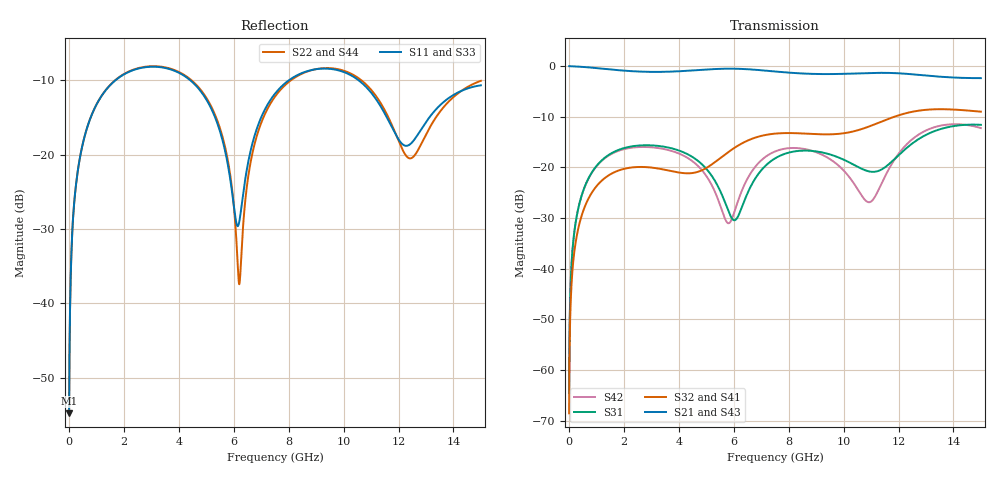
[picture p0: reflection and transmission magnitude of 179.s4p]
! Created with skrf 1.8.0 (http://scikit-rf.org).
# GHz S RI R 50.0
!freq ReS11 ImS11 ReS12 ImS12 ReS13 ImS13
! ReS14 ImS14
! ReS21 ImS21 ReS22 ImS22 ReS23 ImS23
! ReS24 ImS24
! ReS31 ImS31 ReS32 ImS32 ReS33 ImS33
! ReS34 ImS34
! ReS41 ImS41 ReS42 ImS42 ReS43 ImS43
! ReS44 ImS44
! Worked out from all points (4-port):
!   2499 points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, 5 MHz to 15 GHz, reference 50 ohm
!   strongest paths, dB at 5 MHz, 3.476 GHz, 7.19 GHz, 11.1 GHz, 15 GHz:
!     S21: 0.0, -1.1, -0.9, -1.3, -2.4
!     S43: 0.0, -1.1, -0.9, -1.4, -2.4
!     S32: -68.6, -20.4, -13.6, -11.6, -9.0
!     S41: -68.6, -20.5, -13.6, -11.6, -9.0
!     S31: -64.5, -15.9, -19.5, -20.9, -11.6
!     S42: -64.5, -16.4, -17.8, -26.2, -12.2
!   lowest |S11| = -54.8 dB at 5 MHz (marker M1), VSWR 1.00, Z = 50.1 + j0.111 ohm
!   |S11| at or under -10 dB: start of sweep to 1.694 GHz; 4.415 GHz to 8.011 GHz (3.596 GHz wide, 57.9 % of centre); 10.55 GHz to end of sweep
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0.005  0.00145 0.0011  0.9985 -0.00283  7.3e-05 0.000588  -7.08e-05 -0.000367
       0.9985 -0.00283  0.00145 0.0011  -7.08e-05 -0.000367  7.28e-05 0.000588
       7.3e-05 0.000588  -7.08e-05 -0.000367  0.00145 0.0011  0.9985 -0.00283
       -7.08e-05 -0.000367  7.28e-05 0.000588  0.9985 -0.00283  0.00145 0.0011
0.3126303  0.0196 0.0733  0.9732 -0.177  0.00928 0.0353  -0.00748 -0.0219
           0.9732 -0.177  0.0197 0.0733  -0.00748 -0.0219  0.0087 0.0354
           0.00928 0.0353  -0.00748 -0.0219  0.0196 0.0733  0.9732 -0.177
           -0.00748 -0.0219  0.0087 0.0354  0.9732 -0.177  0.0197 0.0733
1.569404  0.2356 0.1885  0.6175 -0.6863  0.122 0.0668  -0.0856 -0.0172
          0.6175 -0.6863  0.2381 0.1872  -0.0856 -0.0172  0.1136 0.0763
          0.122 0.0668  -0.0856 -0.0172  0.2355 0.1885  0.6175 -0.6863
          -0.0856 -0.0172  0.1136 0.0763  0.6175 -0.6863  0.2381 0.1872
4.945811  0.1714 -0.1734  -0.6886 -0.6149  0.0207 -0.0984  -0.0436 0.0864
          -0.6886 -0.6149  0.1624 -0.1899  -0.0433 0.0866  0.0667 -0.0549
          0.0207 -0.0984  -0.0433 0.0866  0.1709 -0.1736  -0.6887 -0.6148
          -0.0436 0.0864  0.0667 -0.0549  -0.6887 -0.6148  0.1627 -0.1896
6.202584  0.0336 0.0116  -0.9385 -0.0512  -0.022 0.0272  -0.00473 0.1669
          -0.9385 -0.0512  0.0135 -0.000133  -0.00414 0.1669  0.0363 0.0353
          -0.022 0.0272  -0.00414 0.1669  0.0323 0.0123  -0.9385 -0.0507
          -0.00473 0.1669  0.0363 0.0353  -0.9385 -0.0507  0.0147 0.00071
9.566486  0.3751 -0.0263  0.00756 0.8345  0.086 -0.1009  0.207 -0.0444
          0.00756 0.8345  0.3799 -0.0223  0.2072 -0.0461  0.0897 -0.076
          0.086 -0.1009  0.2072 -0.0461  0.3791 -0.0241  0.00781 0.8327
          0.207 -0.0444  0.0897 -0.076  0.00781 0.8327  0.3843 -0.0252
15  0.2922 0.00956  0.354 -0.6735  0.259 -0.047  -0.3446 -0.0775
    0.354 -0.6735  0.3111 0.0369  -0.347 -0.0744  0.2431 0.0251
    0.259 -0.047  -0.347 -0.0744  0.284 0.0102  0.3544 -0.6755
    -0.3446 -0.0775  0.2431 0.0251  0.3544 -0.6755  0.3084 0.0305
